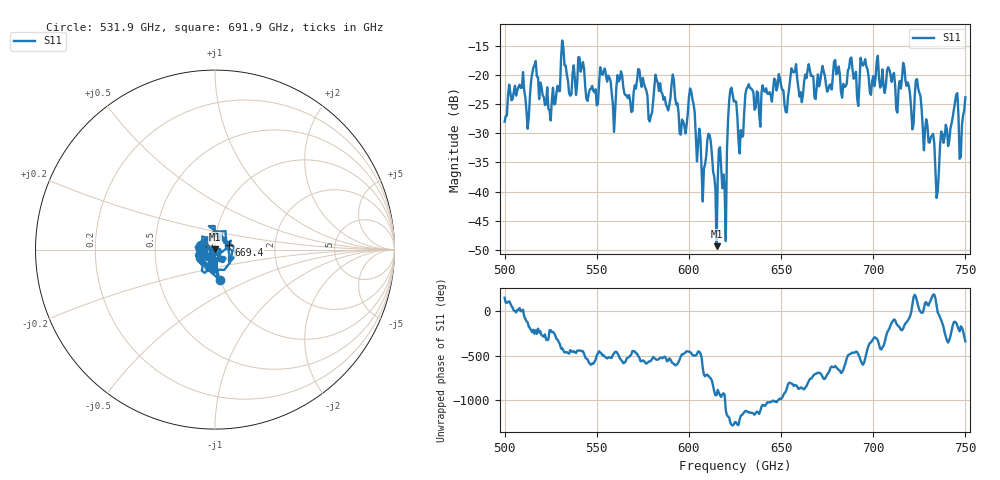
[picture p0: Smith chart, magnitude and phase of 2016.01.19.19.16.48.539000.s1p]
!Created with skrf (http://scikit-rf.org).
# GHz S RI R 50.0
!freq ReS11 ImS11
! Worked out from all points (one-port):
!   401 points, 500 GHz to 750 GHz, reference 50 ohm
!   lowest |S11| = -49.4 dB at 615 GHz (marker M1), VSWR 1.01, Z = 49.7 + j0.22 ohm
!   |S11| at or under -10 dB: start of sweep to end of sweep
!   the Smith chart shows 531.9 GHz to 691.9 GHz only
!   S11 on the Smith chart (normalised r, x): 531.9 GHz: 1.00, -0.35; 669.4 GHz: 1.16, +0.07; 691.9 GHz: 0.93, -0.08
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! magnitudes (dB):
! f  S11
! 500 GHz  -28.0
! 508.8 GHz  -22.2
! 512.5 GHz  -29.2
! 516.2 GHz  -18.3
! 525.6 GHz  -24.3
! 531.2 GHz  -14.0
! 531.9 GHz  -15.2
! 559.4 GHz  -29.7
! 562.5 GHz  -20.7
! 593.8 GHz  -24.8
! 601.2 GHz  -22.8
! 607.5 GHz  -41.7
! 611.2 GHz  -30.3
! 615 GHz  -49.4
! 619.4 GHz  -39.7
! 622.5 GHz  -22.4
! 625 GHz  -24.4
! 628.1 GHz  -29.4
! 631.9 GHz  -22.0
! 653.1 GHz  -26.4
! 656.2 GHz  -19.3
! 669.4 GHz  -21.8
! 687.5 GHz  -17.1
! 691.9 GHz  -25.3
! 718.8 GHz  -21.2
! 724.4 GHz  -22.2
! 735 GHz  -39.9
! 750 GHz  -23.8
